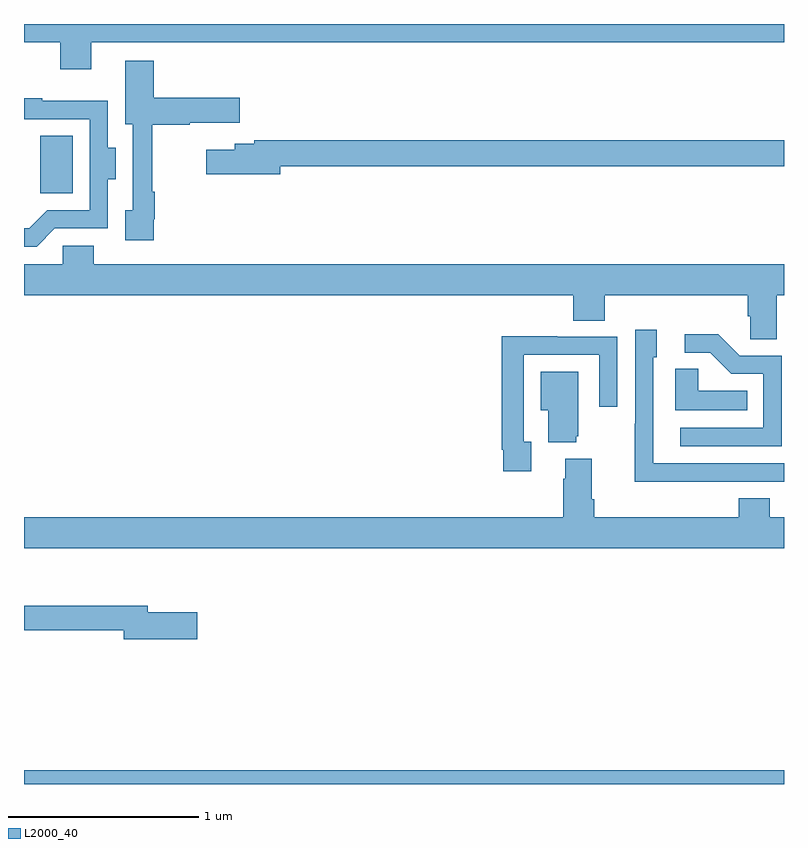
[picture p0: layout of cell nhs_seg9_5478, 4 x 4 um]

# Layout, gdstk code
import gdstk
lib = gdstk.Library(unit=1e-6, precision=1e-09)
def R(c, l, rs):  # rectangles x0, y0, x1, y1
    for r in rs: c.add(gdstk.rectangle(r[:2], r[2:], *l))
def P(c, l, *ps):  # polygons
    for p in ps: c.add(gdstk.Polygon(p, *l))
L2000_40 = (2000, 40)

nhs_seg9_5478 = lib.new_cell('nhs_seg9_5478')
R(nhs_seg9_5478, L2000_40, [(429,1208.5,433,1208.572), (429.086,1211.609,429.256,1211.911)])
P(nhs_seg9_5478, L2000_40, [(429.355,1212.404),(433,1212.404),(433,1212.5),(429,1212.5),(429,1212.404),(429.191,1212.404),(429.191,1212.261),(429.355,1212.261)],
  [(429.682,1211.473),(429.689,1211.473),(429.689,1211.617),(429.674,1211.617),(429.674,1211.969),(429.872,1211.969),(429.872,1211.981),(430.135,1211.981),(430.135,1212.111),(429.683,1212.111),(429.683,1212.307),(429.533,1212.307),(429.533,1211.972),(429.573,1211.972),(429.573,1211.521),(429.533,1211.521),(429.533,1211.361),(429.682,1211.361)],
  [(429.162,1211.424),(429.442,1211.424),(429.442,1211.684),(429.484,1211.684),(429.484,1211.848),(429.441,1211.848),(429.441,1212.097),(429.095,1212.097),(429.095,1212.109),(429,1212.109),(429,1212),(429.345,1212),(429.345,1211.52),(429.123,1211.52),(429.027,1211.424),(429,1211.424),(429,1211.328),(429.066,1211.328)],
  [(430.348,1211.752),(433,1211.752),(433,1211.888),(430.213,1211.888),(430.213,1211.869),(430.109,1211.869),(430.109,1211.839),(429.96,1211.839),(429.96,1211.71),(430.348,1211.71)],
  [(432.961,1211.072),(433,1211.072),(433,1211.236),(429.368,1211.236),(429.368,1211.334),(429.204,1211.334),(429.204,1211.236),(429,1211.236),(429,1211.072),(431.891,1211.072),(431.891,1210.939),(432.056,1210.939),(432.056,1211.072),(432.809,1211.072),(432.809,1210.963),(432.822,1210.963),(432.822,1210.84),(432.961,1210.84)],
  [(432.677,1210.092),(433,1210.092),(433,1210.188),(432.312,1210.188),(432.312,1210.746),(432.331,1210.746),(432.331,1210.891),(432.216,1210.891),(432.216,1210.397),(432.214,1210.397),(432.214,1210.091),(432.677,1210.091)],
  [(432.987,1210.755),(432.768,1210.755),(432.655,1210.868),(432.477,1210.868),(432.477,1210.77),(432.611,1210.77),(432.722,1210.659),(432.891,1210.659),(432.891,1210.374),(432.453,1210.374),(432.453,1210.278),(432.987,1210.278)],
  [(431.671,1210.302),(431.631,1210.302),(431.631,1210.758),(432.027,1210.758),(432.027,1210.485),(432.123,1210.485),(432.123,1210.854),(431.807,1210.854),(431.807,1210.856),(431.515,1210.856),(431.515,1210.258),(431.523,1210.258),(431.523,1210.146),(431.671,1210.146)],
  [(432.806,1210.57),(432.549,1210.57),(432.549,1210.685),(432.428,1210.685),(432.428,1210.466),(432.806,1210.466)],
  [(431.906,1210.329),(431.917,1210.329),(431.917,1210.669),(431.72,1210.669),(431.72,1210.466),(431.759,1210.466),(431.759,1210.298),(431.906,1210.298)],
  [(433,1209.904),(432.926,1209.904),(432.926,1210.003),(432.761,1210.003),(432.761,1209.904),(432.002,1209.904),(432.002,1210),(431.989,1210),(431.989,1210.213),(431.849,1210.213),(431.849,1210.106),(431.837,1210.106),(431.837,1209.904),(429,1209.904),(429,1209.74),(433,1209.74)],
  [(429.913,1209.405),(429.652,1209.405),(429.652,1209.439),(429,1209.439),(429,1209.31),(429.524,1209.31),(429.524,1209.263),(429.913,1209.263)])

lib.write_gds('nhs_seg9_5478.gds')
